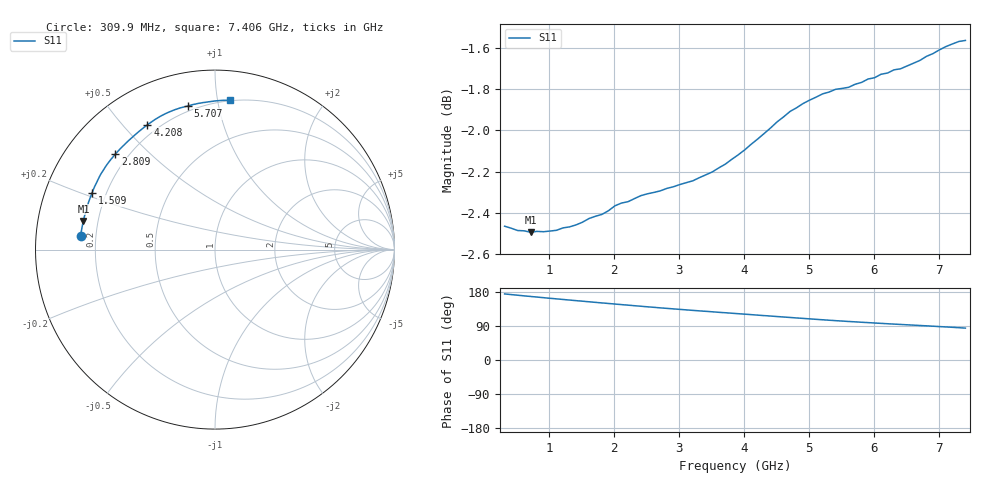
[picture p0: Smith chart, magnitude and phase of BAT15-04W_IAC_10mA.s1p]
! Infineon Technologies  Discrete & RF Semiconductors
! BAT15-04W-E6327
! IAC = 10 mA
! One-Port S-Parameters
# Hz  S  MA  R  50
!f  S11
!Hz  Mag  Ang
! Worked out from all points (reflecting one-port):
!   72 points, 309.9 MHz to 7.406 GHz, reference 50 ohm
!   lowest |S11| = -2.5 dB at 709.6 MHz (marker M1), VSWR 7.01, Z = 7.21 + j5.29 ohm
!   phase of S11 starts at 174 deg and turns -90 deg over the sweep
!   S11 on the Smith chart (normalised r, x): 309.9 MHz: 0.14, +0.05; 1.509 GHz: 0.15, +0.22; 2.809 GHz: 0.15, +0.39; 4.208 GHz: 0.16, +0.58; 5.707 GHz: 0.17, +0.81; 7.406 GHz: 0.20, +1.09
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3.0985e8  0.7529 174.3
6.097e8  0.751 169.3
7.0965e8  0.7504 167.7
1.0095e9  0.7509 162.8
1.2094e9  0.7522 159.7
1.50925e9  0.7546 155.2
1.70915e9  0.7571 152.1
2.10895e9  0.7627 146.2
2.4088e9  0.7659 141.9
2.50875e9  0.7667 140.4
2.8086e9  0.769 136.3
3.0085e9  0.7707 133.5
3.30835e9  0.7736 129.7
3.6082e9  0.7779 125.9
3.90805e9  0.7836 122.2
4.2079e9  0.7906 118.4
4.50775e9  0.7982 114.7
4.8076e9  0.8045 110.9
5.2074e9  0.8108 106.1
5.4073e9  0.8128 103.8
5.6072e9  0.8137 101.7
5.70715e9  0.8151 100.7
6.10695e9  0.8197 96.7
6.30685e9  0.8217 94.7
6.6067e9  0.8248 92.0
6.8066e9  0.828 90.2
7.10645e9  0.8325 87.3
7.4063e9  0.8354 84.2
